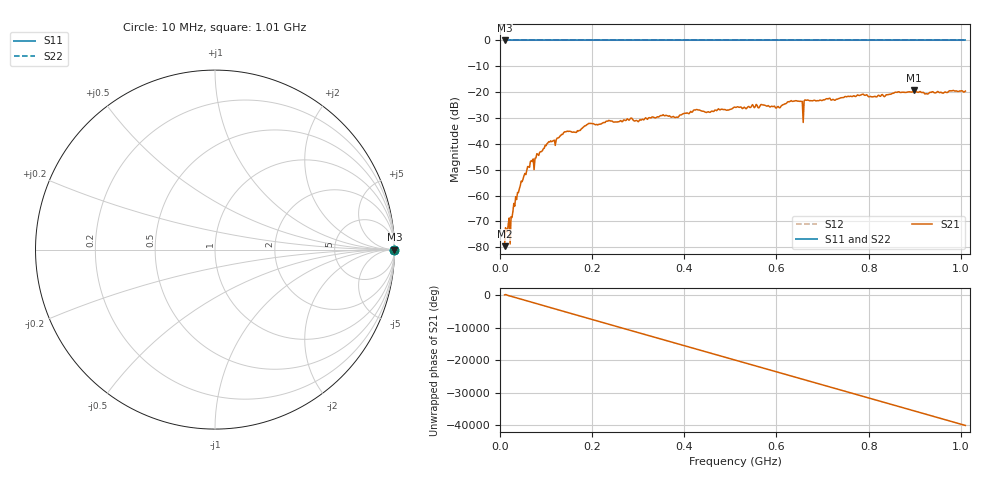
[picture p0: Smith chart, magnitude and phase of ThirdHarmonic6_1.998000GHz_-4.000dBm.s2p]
! 8/17/2025 12:00:17 AM
! C:\ANRITSUVNA\TEMP\TEMP.S2P
! CHANNEL.1
! TR.MEASUREMENT
! RAW.DATA
! RF.CORRECTION.OFF
! AVERAGING.OFF
! IF.BANDWIDTH: 5KHZ
! SWEEPTYPE:  FREQ.SWEEP(Linear)
! Reference Plane Port Info
! PORT:  PORT1  PORT2
! DISTANCE:  0  m  0  m
! TIME:  0  s  0  s
! PHASE.OFFSET:  0  deg.  0  deg.
! LOSS:  0  dB  0  dB
! REF.LOSS:  0  dB  0  dB
! REF.FREQ:  0  Hz  0  Hz
! Power Info
! POWER:  -20  dBm  -20  dBm
! EFF.POWER:  -20  dBm  -20  dBm
! SOURCE.ATTEN:  0  dB  0  dB
! TEST.ATTEN:  0  dB  0  dB
# GHZ S RI R 50.0
! FREQ.GHZ  S11RE  S11IM  S21RE  S21IM  S12RE  S12IM  S22RE  S22IM
!; PortSelection: Port_12
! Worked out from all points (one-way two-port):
!   501 points, 10 MHz to 1.01 GHz, reference 50 ohm
!   highest |S21| = -19.34 dB at 898 MHz (marker M1); lowest = -79.6 dB at 10 MHz (marker M2)
!   lowest |S11| = 0.0 dB at 10 MHz (marker M3)
!   |S11| at or under -10 dB: nowhere
!   |S22| runs from 0.0 to 0.0 dB; largest |S21 - S12| = 1.1
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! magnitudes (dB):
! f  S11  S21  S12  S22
! 10 MHz  0.0  -79.6  0.0  0.0
! 16 MHz  0.0  -74.0  0.0  0.0
! 18 MHz  0.0  -71.0  0.0  0.0
! 26 MHz  0.0  -68.5  0.0  0.0
! 30 MHz  0.0  -63.1  0.0  0.0
! 42 MHz  0.0  -57.4  0.0  0.0
! 64 MHz  0.0  -49.1  0.0  0.0
! 106 MHz  0.0  -39.2  0.0  0.0
! 142 MHz  0.0  -35.4  0.0  0.0
! 178 MHz  0.0  -34.0  0.0  0.0
! 196 MHz  0.0  -32.1  0.0  0.0
! 344 MHz  0.0  -29.6  0.0  0.0
! 510 MHz  0.0  -25.8  0.0  0.0
! 604 MHz  0.0  -25.6  0.0  0.0
! 642 MHz  0.0  -23.3  0.0  0.0
! 652 MHz  0.0  -23.6  0.0  0.0
! 654 MHz  0.0  -23.6  0.0  0.0
! 664 MHz  0.0  -23.1  0.0  0.0
! 678 MHz  0.0  -23.4  0.0  0.0
! 844 MHz  0.0  -20.9  0.0  0.0
! 898 MHz  0.0  -19.3  0.0  0.0
! 1.01 GHz  0.0  -19.6  0.0  0.0
